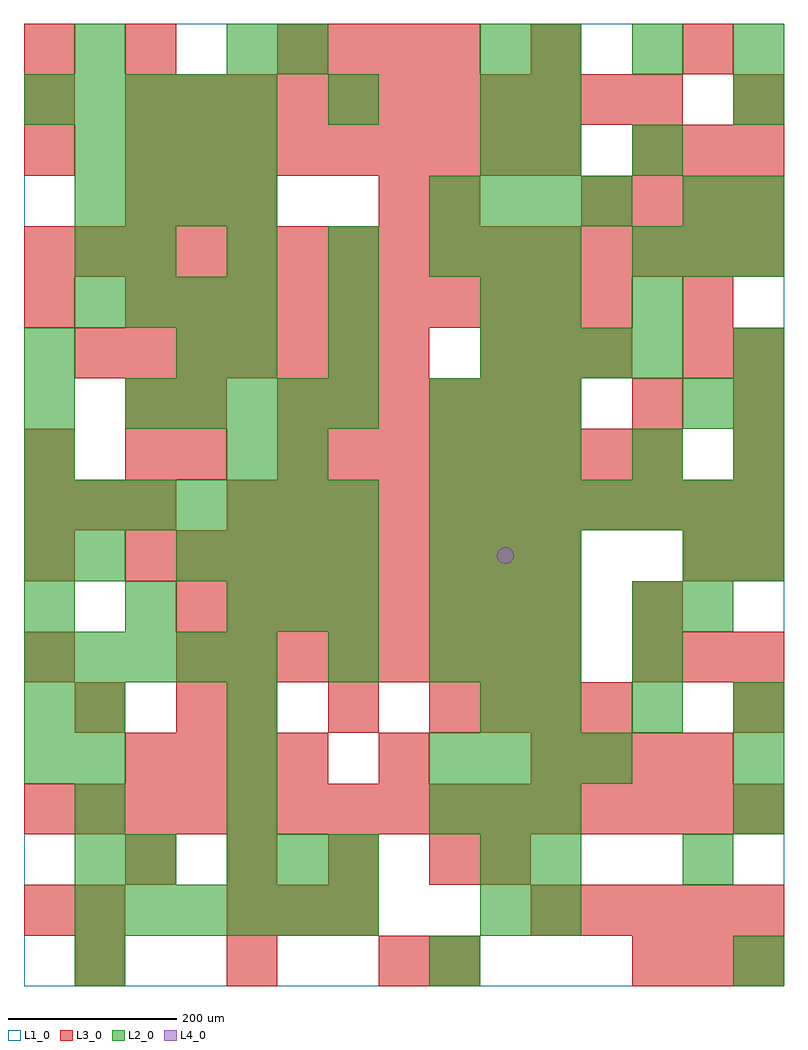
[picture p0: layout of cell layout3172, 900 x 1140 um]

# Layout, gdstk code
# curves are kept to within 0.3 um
import gdstk
lib = gdstk.Library(unit=1e-6, precision=1e-09)
def R(c, l, rs):  # rectangles x0, y0, x1, y1
    for r in rs: c.add(gdstk.rectangle(r[:2], r[2:], *l))
def A(c, l, x, y, w, h, nx, ny, dx, dy):  # array of equal rectangles
    R(c, l, [(x+i*dx, y+j*dy, x+i*dx+w, y+j*dy+h) for i in range(nx) for j in range(ny)])
def P(c, l, *ps):  # polygons
    for p in ps: c.add(gdstk.Polygon(p, *l))
L1_0 = (1, 0)
L2_0 = (2, 0)
L3_0 = (3, 0)
L4_0 = (4, 0)

layout3172 = lib.new_cell('layout3172')
R(layout3172, L1_0, [(0,0,900,1140)])
A(layout3172, L2_0, 60, 60, 60, 60, 6, 1, 60, 0)
A(layout3172, L2_0, 60, 120, 60, 60, 1, 4, 0, 60)
A(layout3172, L2_0, 240, 120, 60, 60, 3, 1, 60, 0)
A(layout3172, L2_0, 240, 180, 60, 60, 1, 3, 0, 60)
A(layout3172, L2_0, 480, 180, 60, 60, 3, 2, 60, 180)
A(layout3172, L2_0, 480, 240, 60, 60, 4, 2, 60, 660)
A(layout3172, L2_0, 600, 300, 60, 60, 3, 2, 120, 780)
A(layout3172, L2_0, 0, 360, 60, 60, 5, 2, 60, 660)
A(layout3172, L2_0, 0, 420, 60, 60, 3, 1, 120, 0)
A(layout3172, L2_0, 480, 420, 60, 60, 3, 2, 60, 60)
A(layout3172, L2_0, 720, 420, 60, 60, 1, 4, 0, 180)
A(layout3172, L2_0, 180, 480, 60, 60, 4, 1, 60, 0)
A(layout3172, L2_0, 0, 540, 60, 60, 7, 1, 60, 0)
A(layout3172, L2_0, 480, 540, 60, 60, 7, 1, 60, 0)
A(layout3172, L2_0, 0, 600, 60, 60, 1, 3, 0, 60)
A(layout3172, L2_0, 480, 600, 60, 60, 3, 2, 60, 60)
A(layout3172, L2_0, 840, 600, 60, 60, 1, 3, 0, 60)
A(layout3172, L2_0, 120, 660, 60, 60, 5, 1, 60, 0)
A(layout3172, L2_0, 540, 720, 60, 60, 4, 1, 60, 0)
A(layout3172, L2_0, 60, 780, 60, 60, 4, 2, 60, 120)
A(layout3172, L2_0, 120, 840, 60, 60, 4, 1, 120, 0)
A(layout3172, L2_0, 720, 840, 60, 60, 3, 1, 60, 0)
A(layout3172, L2_0, 60, 960, 60, 60, 4, 1, 60, 0)
A(layout3172, L2_0, 540, 960, 60, 60, 1, 3, 0, 60)
R(layout3172, L2_0, [(60,0,120,60), (480,0,540,60), (840,0,900,60), (540,60,600,120), (600,60,660,120), (120,120,180,180), (540,120,600,180), (600,120,660,180), (780,120,840,180), (840,180,900,240), (0,240,60,300), (840,240,900,300), (0,300,60,360), (540,300,600,360), (360,360,420,420), (720,360,780,420), (300,420,360,480), (360,420,420,480), (780,420,840,480), (0,480,60,540), (60,480,120,540), (780,480,840,540), (840,480,900,540), (240,600,300,660), (300,600,360,660), (780,660,840,720), (180,720,240,780), (240,720,300,780), (360,720,420,780), (360,780,420,840), (540,780,600,840), (600,780,660,840), (60,840,120,900), (540,840,600,900), (600,840,660,900), (780,900,840,960), (840,900,900,960), (600,960,660,1020), (360,1020,420,1080), (600,1020,660,1080), (840,1020,900,1080), (60,1080,120,1140), (240,1080,300,1140), (300,1080,360,1140)])
A(layout3172, L3_0, 60, 0, 60, 60, 3, 1, 180, 0)
A(layout3172, L3_0, 720, 0, 60, 60, 3, 2, 60, 360)
A(layout3172, L3_0, 240, 60, 60, 60, 3, 1, 60, 0)
A(layout3172, L3_0, 600, 60, 60, 60, 5, 1, 60, 0)
A(layout3172, L3_0, 120, 120, 60, 60, 4, 1, 120, 0)
A(layout3172, L3_0, 0, 180, 60, 60, 15, 2, 60, 660)
A(layout3172, L3_0, 120, 240, 60, 60, 4, 1, 60, 0)
A(layout3172, L3_0, 600, 240, 60, 60, 4, 1, 60, 0)
A(layout3172, L3_0, 240, 300, 60, 60, 3, 1, 120, 0)
A(layout3172, L3_0, 540, 300, 60, 60, 3, 2, 60, 420)
A(layout3172, L3_0, 0, 360, 60, 60, 1, 3, 0, 120)
A(layout3172, L3_0, 180, 360, 60, 60, 8, 2, 60, 60)
A(layout3172, L3_0, 120, 480, 60, 60, 9, 2, 60, 480)
A(layout3172, L3_0, 0, 540, 60, 60, 3, 1, 60, 0)
A(layout3172, L3_0, 240, 540, 60, 60, 11, 1, 60, 0)
A(layout3172, L3_0, 300, 600, 60, 60, 8, 1, 60, 0)
A(layout3172, L3_0, 840, 600, 60, 60, 1, 3, 0, 60)
A(layout3172, L3_0, 300, 660, 60, 60, 6, 1, 60, 0)
A(layout3172, L3_0, 60, 720, 60, 60, 7, 1, 60, 0)
A(layout3172, L3_0, 120, 780, 60, 60, 10, 1, 60, 0)
A(layout3172, L3_0, 120, 900, 60, 60, 3, 1, 60, 0)
A(layout3172, L3_0, 660, 900, 60, 60, 4, 1, 60, 0)
A(layout3172, L3_0, 0, 960, 60, 60, 1, 3, 0, 60)
A(layout3172, L3_0, 720, 960, 60, 60, 3, 1, 60, 0)
A(layout3172, L3_0, 120, 1020, 60, 60, 11, 1, 60, 0)
A(layout3172, L3_0, 300, 1080, 60, 60, 4, 1, 60, 0)
R(layout3172, L3_0, [(480,0,540,60), (0,60,60,120), (60,60,120,120), (540,120,600,180), (420,240,480,300), (60,300,120,360), (180,300,240,360), (840,300,900,360), (720,420,780,480), (780,480,840,540), (840,480,900,540), (120,600,180,660), (180,600,240,660), (120,660,180,720), (180,660,240,720), (720,660,780,720), (780,720,840,780), (0,780,60,840), (780,780,840,840), (420,900,480,960), (480,900,540,960), (840,1020,900,1080), (120,1080,180,1140), (600,1080,660,1140), (780,1080,840,1140)])
P(layout3172, L4_0, [(580,510),(579.239,513.827),(577.071,517.071),(573.827,519.239),(570,520),(566.173,519.239),(562.929,517.071),(560.761,513.827),(560,510),(560.761,506.173),(562.929,502.929),(566.173,500.761),(570,500),(573.827,500.761),(577.071,502.929),(579.239,506.173)])

lib.write_gds('layout3172.gds')
